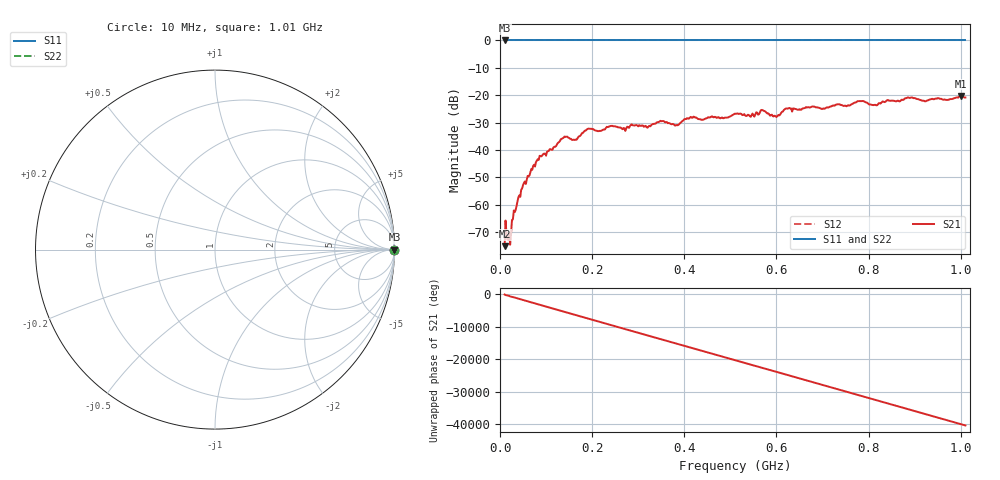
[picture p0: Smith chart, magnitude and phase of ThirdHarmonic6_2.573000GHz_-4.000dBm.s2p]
! 8/17/2025 5:23:49 AM
! C:\ANRITSUVNA\TEMP\TEMP.S2P
! CHANNEL.1
! TR.MEASUREMENT
! RAW.DATA
! RF.CORRECTION.OFF
! AVERAGING.OFF
! IF.BANDWIDTH: 5KHZ
! SWEEPTYPE:  FREQ.SWEEP(Linear)
! Reference Plane Port Info
! PORT:  PORT1  PORT2
! DISTANCE:  0  m  0  m
! TIME:  0  s  0  s
! PHASE.OFFSET:  0  deg.  0  deg.
! LOSS:  0  dB  0  dB
! REF.LOSS:  0  dB  0  dB
! REF.FREQ:  0  Hz  0  Hz
! Power Info
! POWER:  -20  dBm  -20  dBm
! EFF.POWER:  -20  dBm  -20  dBm
! SOURCE.ATTEN:  0  dB  0  dB
! TEST.ATTEN:  0  dB  0  dB
# GHZ S RI R 50.0
! FREQ.GHZ  S11RE  S11IM  S21RE  S21IM  S12RE  S12IM  S22RE  S22IM
!; PortSelection: Port_12
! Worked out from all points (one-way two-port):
!   501 points, 10 MHz to 1.01 GHz, reference 50 ohm
!   highest |S21| = -20.25 dB at 1 GHz (marker M1); lowest = -75.2 dB at 10 MHz (marker M2)
!   lowest |S11| = 0.0 dB at 10 MHz (marker M3)
!   |S11| at or under -10 dB: nowhere
!   |S22| runs from 0.0 to 0.0 dB; largest |S21 - S12| = 1.1
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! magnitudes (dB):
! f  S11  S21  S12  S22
! 10 MHz  0.0  -75.2  0.0  0.0
! 16 MHz  0.0  -72.7  0.0  0.0
! 20 MHz  0.0  -70.5  0.0  0.0
! 30 MHz  0.0  -62.1  0.0  0.0
! 50 MHz  0.0  -52.8  0.0  0.0
! 82 MHz  0.0  -43.4  0.0  0.0
! 136 MHz  0.0  -35.7  0.0  0.0
! 162 MHz  0.0  -36.4  0.0  0.0
! 178 MHz  0.0  -33.9  0.0  0.0
! 194 MHz  0.0  -32.2  0.0  0.0
! 344 MHz  0.0  -29.8  0.0  0.0
! 384 MHz  0.0  -30.9  0.0  0.0
! 416 MHz  0.0  -28.2  0.0  0.0
! 510 MHz  0.0  -26.8  0.0  0.0
! 548 MHz  0.0  -26.7  0.0  0.0
! 570 MHz  0.0  -25.5  0.0  0.0
! 598 MHz  0.0  -27.7  0.0  0.0
! 624 MHz  0.0  -24.9  0.0  0.0
! 678 MHz  0.0  -24.1  0.0  0.0
! 844 MHz  0.0  -22.0  0.0  0.0
! 1 GHz  0.0  -20.3  0.0  0.0
! 1.01 GHz  0.0  -20.9  0.0  0.0
